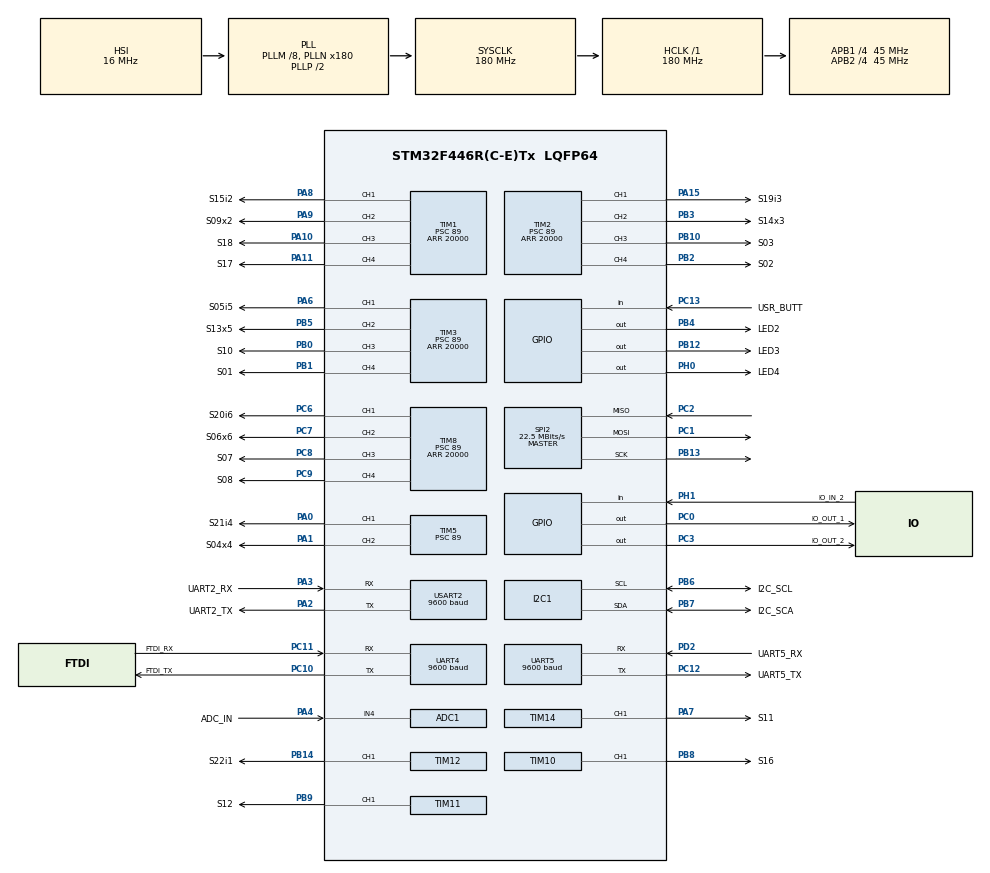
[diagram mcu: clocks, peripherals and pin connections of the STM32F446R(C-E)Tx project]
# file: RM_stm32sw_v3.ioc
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ADC1.Channel-0\#ChannelRegularConversion=ADC_CHANNEL_4
ADC1.NbrOfConversionFlag=1
ADC1.Rank-0\#ChannelRegularConversion=1
ADC1.SamplingTime-0\#ChannelRegularConversion=ADC_SAMPLETIME_3CYCLES
ADC1.master=1
Dma.Request0=USART2_RX
Dma.Request1=USART2_TX
Dma.Request2=UART4_RX
Dma.Request3=UART4_TX
Dma.Request4=UART5_RX
Dma.Request5=UART5_TX
Dma.Request6=SPI2_RX
Dma.SPI2_RX.6.Direction=DMA_PERIPH_TO_MEMORY
Dma.SPI2_RX.6.FIFOMode=DMA_FIFOMODE_DISABLE
Dma.SPI2_RX.6.Instance=DMA1_Stream3
Dma.SPI2_RX.6.MemDataAlignment=DMA_MDATAALIGN_BYTE
Dma.SPI2_RX.6.MemInc=DMA_MINC_ENABLE
Dma.SPI2_RX.6.Mode=DMA_NORMAL
Dma.SPI2_RX.6.PeriphDataAlignment=DMA_PDATAALIGN_BYTE
Dma.SPI2_RX.6.PeriphInc=DMA_PINC_DISABLE
Dma.SPI2_RX.6.Priority=DMA_PRIORITY_LOW
Dma.UART4_RX.2.Direction=DMA_PERIPH_TO_MEMORY
Dma.UART4_RX.2.FIFOMode=DMA_FIFOMODE_DISABLE
Dma.UART4_RX.2.Instance=DMA1_Stream2
Dma.UART4_RX.2.MemDataAlignment=DMA_MDATAALIGN_BYTE
Dma.UART4_RX.2.MemInc=DMA_MINC_ENABLE
Dma.UART4_RX.2.Mode=DMA_NORMAL
Dma.UART4_RX.2.PeriphDataAlignment=DMA_PDATAALIGN_BYTE
Dma.UART4_RX.2.PeriphInc=DMA_PINC_DISABLE
Dma.UART4_RX.2.Priority=DMA_PRIORITY_LOW
Dma.UART4_TX.3.Direction=DMA_MEMORY_TO_PERIPH
Dma.UART4_TX.3.FIFOMode=DMA_FIFOMODE_DISABLE
Dma.UART4_TX.3.Instance=DMA1_Stream4
Dma.UART4_TX.3.MemDataAlignment=DMA_MDATAALIGN_BYTE
Dma.UART4_TX.3.MemInc=DMA_MINC_ENABLE
Dma.UART4_TX.3.Mode=DMA_NORMAL
Dma.UART4_TX.3.PeriphDataAlignment=DMA_PDATAALIGN_BYTE
Dma.UART4_TX.3.PeriphInc=DMA_PINC_DISABLE
Dma.UART4_TX.3.Priority=DMA_PRIORITY_LOW
Dma.UART5_RX.4.Direction=DMA_PERIPH_TO_MEMORY
Dma.UART5_RX.4.FIFOMode=DMA_FIFOMODE_DISABLE
Dma.UART5_RX.4.Instance=DMA1_Stream0
Dma.UART5_RX.4.MemDataAlignment=DMA_MDATAALIGN_BYTE
Dma.UART5_RX.4.MemInc=DMA_MINC_ENABLE
Dma.UART5_RX.4.Mode=DMA_NORMAL
Dma.UART5_RX.4.PeriphDataAlignment=DMA_PDATAALIGN_BYTE
Dma.UART5_RX.4.PeriphInc=DMA_PINC_DISABLE
Dma.UART5_RX.4.Priority=DMA_PRIORITY_LOW
Dma.UART5_TX.5.Direction=DMA_MEMORY_TO_PERIPH
Dma.UART5_TX.5.FIFOMode=DMA_FIFOMODE_DISABLE
Dma.UART5_TX.5.Instance=DMA1_Stream7
Dma.UART5_TX.5.MemDataAlignment=DMA_MDATAALIGN_BYTE
Dma.UART5_TX.5.MemInc=DMA_MINC_ENABLE
Dma.UART5_TX.5.Mode=DMA_NORMAL
Dma.UART5_TX.5.PeriphDataAlignment=DMA_PDATAALIGN_BYTE
Dma.UART5_TX.5.PeriphInc=DMA_PINC_DISABLE
Dma.UART5_TX.5.Priority=DMA_PRIORITY_LOW
Dma.USART2_RX.0.Direction=DMA_PERIPH_TO_MEMORY
Dma.USART2_RX.0.FIFOMode=DMA_FIFOMODE_DISABLE
Dma.USART2_RX.0.Instance=DMA1_Stream5
Dma.USART2_RX.0.MemDataAlignment=DMA_MDATAALIGN_BYTE
Dma.USART2_RX.0.MemInc=DMA_MINC_ENABLE
Dma.USART2_RX.0.Mode=DMA_NORMAL
Dma.USART2_RX.0.PeriphDataAlignment=DMA_PDATAALIGN_BYTE
Dma.USART2_RX.0.PeriphInc=DMA_PINC_DISABLE
Dma.USART2_RX.0.Priority=DMA_PRIORITY_LOW
Dma.USART2_TX.1.Direction=DMA_MEMORY_TO_PERIPH
Dma.USART2_TX.1.FIFOMode=DMA_FIFOMODE_DISABLE
Dma.USART2_TX.1.Instance=DMA1_Stream6
Dma.USART2_TX.1.MemDataAlignment=DMA_MDATAALIGN_BYTE
Dma.USART2_TX.1.MemInc=DMA_MINC_ENABLE
Dma.USART2_TX.1.Mode=DMA_NORMAL
Dma.USART2_TX.1.PeriphDataAlignment=DMA_PDATAALIGN_BYTE
Dma.USART2_TX.1.PeriphInc=DMA_PINC_DISABLE
Dma.USART2_TX.1.Priority=DMA_PRIORITY_LOW
Mcu.Family=STM32F4
Mcu.Name=STM32F446R(C-E)Tx
Mcu.Package=LQFP64
NVIC.DMA1_Stream0_IRQn=true\:0\:0\:false\:false\:true\:false\:true
NVIC.DMA1_Stream2_IRQn=true\:0\:0\:false\:false\:true\:false\:true
NVIC.DMA1_Stream3_IRQn=true\:0\:0\:false\:false\:true\:false\:true
NVIC.DMA1_Stream4_IRQn=true\:0\:0\:false\:false\:true\:false\:true
NVIC.DMA1_Stream5_IRQn=true\:0\:0\:false\:false\:true\:false\:true
NVIC.DMA1_Stream6_IRQn=true\:0\:0\:false\:false\:true\:false\:true
NVIC.DMA1_Stream7_IRQn=true\:0\:0\:false\:false\:true\:false\:true
NVIC.PriorityGroup=NVIC_PRIORITYGROUP_4
NVIC.TIM8_UP_TIM13_IRQn=true\:0\:0\:false\:false\:true\:true\:true
NVIC.UART4_IRQn=true\:0\:0\:false\:false\:true\:true\:true
PA0-WKUP.GPIO_Label=S21i4
PA0-WKUP.Signal=S_TIM5_CH1
PA1.GPIO_Label=S04x4
PA1.Signal=S_TIM5_CH2
PA10.GPIO_Label=S18
PA10.Signal=S_TIM1_CH3
PA11.GPIO_Label=S17
PA11.Signal=S_TIM1_CH4
PA13.GPIO_Label=SWDIO
PA13.Mode=Serial_Wire
PA13.Signal=SYS_JTMS-SWDIO
PA14.GPIO_Label=SWCLK
PA14.Mode=Serial_Wire
PA14.Signal=SYS_JTCK-SWCLK
PA15.GPIO_Label=S19i3
PA15.Signal=S_TIM2_CH1_ETR
PA2.GPIO_Label=UART2_TX
PA2.Mode=Asynchronous
PA2.Signal=USART2_TX
PA3.GPIO_Label=UART2_RX
PA3.Mode=Asynchronous
PA3.Signal=USART2_RX
PA4.GPIO_Label=ADC_IN
PA4.Signal=SharedAnalog_PA4
PA6.GPIO_Label=S05i5
PA6.Signal=S_TIM3_CH1
PA7.GPIO_Label=S11
PA7.Signal=S_TIM14_CH1
PA8.GPIO_Label=S15i2
PA8.Signal=S_TIM1_CH1
PA9.GPIO_Label=S09x2
PA9.Signal=S_TIM1_CH2
PB0.GPIO_Label=S10
PB0.Signal=S_TIM3_CH3
PB1.GPIO_Label=S01
PB1.Signal=S_TIM3_CH4
PB10.GPIO_Label=S03
PB10.Signal=S_TIM2_CH3
PB12.GPIO_Label=LED3
PB12.Signal=GPIO_Output
PB13.Mode=Full_Duplex_Master
PB13.Signal=SPI2_SCK
PB14.GPIO_Label=S22i1
PB14.Signal=S_TIM12_CH1
PB2.GPIO_Label=S02
PB2.Signal=S_TIM2_CH4
PB3.GPIO_Label=S14x3
PB3.Signal=S_TIM2_CH2
PB4.GPIO_Label=LED2
PB4.Signal=GPIO_Output
PB5.GPIO_Label=S13x5
PB5.Signal=S_TIM3_CH2
PB6.GPIO_Label=I2C_SCL
PB6.Mode=I2C
PB6.Signal=I2C1_SCL
PB7.GPIO_Label=I2C_SCA
PB7.Mode=I2C
PB7.Signal=I2C1_SDA
PB8.GPIO_Label=S16
PB8.Signal=S_TIM10_CH1
PB9.GPIO_Label=S12
PB9.Signal=S_TIM11_CH1
PC0.GPIO_Label=IO_OUT_1
PC0.Signal=GPIO_Output
PC1.Mode=Full_Duplex_Master
PC1.Signal=SPI2_MOSI
PC10.GPIO_Label=FTDI_TX
PC10.Mode=Asynchronous
PC10.Signal=UART4_TX
PC11.GPIO_Label=FTDI_RX
PC11.Mode=Asynchronous
PC11.Signal=UART4_RX
PC12.GPIO_Label=UART5_TX
PC12.Mode=Asynchronous
PC12.Signal=UART5_TX
PC13.GPIO_Label=USR_BUTT
PC13.Signal=GPIO_Input
PC14-OSC32_IN.GPIO_Label=OSC_IN
PC14-OSC32_IN.Signal=RCC_OSC32_IN
PC15-OSC32_OUT.GPIO_Label=OSC_OUT
PC15-OSC32_OUT.Signal=RCC_OSC32_OUT
PC2.Mode=Full_Duplex_Master
PC2.Signal=SPI2_MISO
PC3.GPIO_Label=IO_OUT_2
PC3.Signal=GPIO_Output
PC6.GPIO_Label=S20i6
PC6.Signal=S_TIM8_CH1
PC7.GPIO_Label=S06x6
PC7.Signal=S_TIM8_CH2
PC8.GPIO_Label=S07
PC8.Signal=S_TIM8_CH3
PC9.GPIO_Label=S08
PC9.Signal=S_TIM8_CH4
PD2.GPIO_Label=UART5_RX
PD2.Mode=Asynchronous
PD2.Signal=UART5_RX
PH0-OSC_IN.GPIO_Label=LED4
PH0-OSC_IN.Signal=GPIO_Output
PH1-OSC_OUT.GPIO_Label=IO_IN_2
PH1-OSC_OUT.Signal=GPIO_Input
ProjectManager.HeapSize=0x200
ProjectManager.StackSize=0x400
ProjectManager.TargetToolchain=TrueSTUDIO
RCC.AHBFreq_Value=180000000
RCC.APB1CLKDivider=RCC_HCLK_DIV4
RCC.APB1Freq_Value=45000000
RCC.APB1TimFreq_Value=90000000
RCC.APB2CLKDivider=RCC_HCLK_DIV4
RCC.APB2Freq_Value=45000000
RCC.APB2TimFreq_Value=90000000
RCC.CortexFreq_Value=180000000
RCC.HCLKFreq_Value=180000000
RCC.PLLM=8
RCC.PLLN=180
RCC.SYSCLKFreq_VALUE=180000000
RCC.SYSCLKSource=RCC_SYSCLKSOURCE_PLLCLK
RCC.USBFreq_Value=180000000
RCC.VCOOutputFreq_Value=360000000
SH.S_TIM10_CH1.0=TIM10_CH1,PWM Generation1 CH1
SH.S_TIM11_CH1.0=TIM11_CH1,PWM Generation1 CH1
SH.S_TIM12_CH1.0=TIM12_CH1,PWM Generation1 CH1
SH.S_TIM14_CH1.0=TIM14_CH1,PWM Generation1 CH1
SH.S_TIM1_CH1.0=TIM1_CH1,PWM Generation1 CH1
SH.S_TIM1_CH2.0=TIM1_CH2,PWM Generation2 CH2
SH.S_TIM1_CH3.0=TIM1_CH3,PWM Generation3 CH3
SH.S_TIM1_CH4.0=TIM1_CH4,PWM Generation4 CH4
SH.S_TIM2_CH1_ETR.0=TIM2_CH1,PWM Generation1 CH1
SH.S_TIM2_CH2.0=TIM2_CH2,PWM Generation2 CH2
SH.S_TIM2_CH3.0=TIM2_CH3,PWM Generation3 CH3
SH.S_TIM2_CH4.0=TIM2_CH4,PWM Generation4 CH4
SH.S_TIM3_CH1.0=TIM3_CH1,PWM Generation1 CH1
SH.S_TIM3_CH2.0=TIM3_CH2,PWM Generation2 CH2
SH.S_TIM3_CH3.0=TIM3_CH3,PWM Generation3 CH3
SH.S_TIM3_CH4.0=TIM3_CH4,PWM Generation4 CH4
SH.S_TIM5_CH1.0=TIM5_CH1,PWM Generation1 CH1
SH.S_TIM5_CH2.0=TIM5_CH2,PWM Generation2 CH2
SH.S_TIM8_CH1.0=TIM8_CH1,PWM Generation1 CH1
SH.S_TIM8_CH2.0=TIM8_CH2,PWM Generation2 CH2
SH.S_TIM8_CH3.0=TIM8_CH3,PWM Generation3 CH3
SH.S_TIM8_CH4.0=TIM8_CH4,PWM Generation4 CH4
SH.SharedAnalog_PA4.0=GPIO_Analog
SH.SharedAnalog_PA4.1=ADC1_IN4,IN4
SPI2.CalculateBaudRate=22.5 MBits/s
SPI2.Direction=SPI_DIRECTION_2LINES
SPI2.Mode=SPI_MODE_MASTER
SPI2.VirtualType=VM_MASTER
TIM1.Channel-PWM\ Generation1\ CH1=TIM_CHANNEL_1
TIM1.Channel-PWM\ Generation2\ CH2=TIM_CHANNEL_2
TIM1.Channel-PWM\ Generation3\ CH3=TIM_CHANNEL_3
TIM1.Channel-PWM\ Generation4\ CH4=TIM_CHANNEL_4
TIM1.Period=20000
TIM1.Prescaler=89
TIM1.Pulse-PWM\ Generation1\ CH1=1500
TIM1.Pulse-PWM\ Generation2\ CH2=1500
TIM1.Pulse-PWM\ Generation3\ CH3=1500
TIM1.Pulse-PWM\ Generation4\ CH4=1500
TIM10.Channel=TIM_CHANNEL_1
TIM10.Period=20000
TIM10.Prescaler=89
TIM10.Pulse=1500
TIM11.Channel=TIM_CHANNEL_1
TIM11.Period=20000
TIM11.Prescaler=89
TIM11.Pulse=1500
TIM12.Channel-PWM\ Generation1\ CH1=TIM_CHANNEL_1
TIM13.Period=20000
TIM13.Prescaler=89
TIM14.Channel=TIM_CHANNEL_1
TIM14.Period=20000
TIM14.Prescaler=89
TIM14.Pulse=1500
TIM2.Channel-PWM\ Generation1\ CH1=TIM_CHANNEL_1
TIM2.Channel-PWM\ Generation2\ CH2=TIM_CHANNEL_2
TIM2.Channel-PWM\ Generation3\ CH3=TIM_CHANNEL_3
TIM2.Channel-PWM\ Generation4\ CH4=TIM_CHANNEL_4
TIM2.Period=20000
TIM2.Prescaler=89
TIM2.Pulse-PWM\ Generation1\ CH1=1500
TIM2.Pulse-PWM\ Generation2\ CH2=1500
TIM2.Pulse-PWM\ Generation3\ CH3=1500
TIM2.Pulse-PWM\ Generation4\ CH4=1500
TIM3.Channel-PWM\ Generation1\ CH1=TIM_CHANNEL_1
TIM3.Channel-PWM\ Generation2\ CH2=TIM_CHANNEL_2
TIM3.Channel-PWM\ Generation3\ CH3=TIM_CHANNEL_3
TIM3.Channel-PWM\ Generation4\ CH4=TIM_CHANNEL_4
TIM3.Period=20000
TIM3.Prescaler=89
TIM3.Pulse-PWM\ Generation1\ CH1=1500
TIM3.Pulse-PWM\ Generation2\ CH2=1500
TIM3.Pulse-PWM\ Generation3\ CH3=1500
TIM3.Pulse-PWM\ Generation4\ CH4=1500
TIM5.Channel-PWM\ Generation1\ CH1=TIM_CHANNEL_1
TIM5.Channel-PWM\ Generation2\ CH2=TIM_CHANNEL_2
TIM5.Period=20000
TIM5.Prescaler=89
TIM5.Pulse-PWM\ Generation1\ CH1=1500
TIM5.Pulse-PWM\ Generation2\ CH2=1500
TIM8.Channel-PWM\ Generation1\ CH1=TIM_CHANNEL_1
TIM8.Channel-PWM\ Generation2\ CH2=TIM_CHANNEL_2
TIM8.Channel-PWM\ Generation3\ CH3=TIM_CHANNEL_3
TIM8.Channel-PWM\ Generation4\ CH4=TIM_CHANNEL_4
TIM8.Period=20000
TIM8.Prescaler=89
TIM8.Pulse-PWM\ Generation1\ CH1=1500
TIM8.Pulse-PWM\ Generation2\ CH2=1500
TIM8.Pulse-PWM\ Generation3\ CH3=1500
TIM8.Pulse-PWM\ Generation4\ CH4=1500
UART4.BaudRate=9600
UART4.VirtualMode=Asynchronous
UART5.BaudRate=9600
UART5.VirtualMode=Asynchronous
USART2.BaudRate=9600
USART2.VirtualMode=VM_ASYNC
VP_RTC_VS_RTC_Activate.Mode=RTC_Enabled
VP_TIM10_VS_ClockSourceINT.Mode=Enable_Timer
VP_TIM11_VS_ClockSourceINT.Mode=Enable_Timer
VP_TIM12_VS_ClockSourceINT.Mode=Internal
VP_TIM13_VS_ClockSourceINT.Mode=Enable_Timer
VP_TIM14_VS_ClockSourceINT.Mode=Enable_Timer
VP_TIM1_VS_ClockSourceINT.Mode=Internal
VP_TIM2_VS_ClockSourceINT.Mode=Internal
VP_TIM3_VS_ClockSourceINT.Mode=Internal
VP_TIM8_VS_ClockSourceINT.Mode=Internal
board=custom

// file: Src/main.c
/* USER CODE BEGIN Header */
/**
  ******************************************************************************
  * @file           : main.c
  * @brief          : Main program body
  ******************************************************************************
  * @attention
  *
  * <h2><center>&copy; Copyright (c) 2020 STMicroelectronics.
  * All rights reserved.</center></h2>
  *
  * This software component is licensed by ST under BSD 3-Clause license,
  * the "License"; You may not use this file except in compliance with the
  * License. You may obtain a copy of the License at:
  *                        opensource.org/licenses/BSD-3-Clause
  *
  ******************************************************************************
  */
/* USER CODE END Header */

#include "main.h"

/* USER CODE BEGIN Includes */
#include "stdio.h"
#include "serial.h"
#include "tools.h"
#include "servo.h"
#include "leg.h"
#include "robot.h"
/* USER CODE END Includes */

ADC_HandleTypeDef hadc1;

I2C_HandleTypeDef hi2c1;

RTC_HandleTypeDef hrtc;

SPI_HandleTypeDef hspi2;
DMA_HandleTypeDef hdma_spi2_rx;

TIM_HandleTypeDef htim1;
TIM_HandleTypeDef htim2;
TIM_HandleTypeDef htim3;
TIM_HandleTypeDef htim5;
TIM_HandleTypeDef htim8;
TIM_HandleTypeDef htim10;
TIM_HandleTypeDef htim11;
TIM_HandleTypeDef htim12;
TIM_HandleTypeDef htim13;
TIM_HandleTypeDef htim14;

UART_HandleTypeDef huart4;
UART_HandleTypeDef huart5;
UART_HandleTypeDef huart2;
DMA_HandleTypeDef hdma_uart4_rx;
DMA_HandleTypeDef hdma_uart4_tx;
DMA_HandleTypeDef hdma_uart5_rx;
DMA_HandleTypeDef hdma_uart5_tx;
DMA_HandleTypeDef hdma_usart2_rx;
DMA_HandleTypeDef hdma_usart2_tx;

void SystemClock_Config(void);
static void MX_GPIO_Init(void);
static void MX_DMA_Init(void);
static void MX_ADC1_Init(void);
static void MX_I2C1_Init(void);
static void MX_RTC_Init(void);
static void MX_SPI2_Init(void);
static void MX_TIM1_Init(void);
static void MX_TIM2_Init(void);
static void MX_TIM3_Init(void);
static void MX_TIM5_Init(void);
static void MX_TIM8_Init(void);
static void MX_TIM10_Init(void);
static void MX_TIM11_Init(void);
static void MX_TIM12_Init(void);
static void MX_TIM14_Init(void);
static void MX_UART4_Init(void);
static void MX_UART5_Init(void);
static void MX_USART2_UART_Init(void);
static void MX_TIM13_Init(void);

int main(void)
{
  /* USER CODE BEGIN 1 */
  int len;
  char cmd_line[64];
  char outbuf[64];
  HAL_Serial_Handler FTDI_hserial;
  HAL_Serial_Handler BT_hserial;
  HAL_LineBuffer_Handler FTDI_hlinebuffer;

  /* USER CODE END 1 */

  /* MCU Configuration--------------------------------------------------------*/

  /* Reset of all peripherals, Initializes the Flash interface and the Systick. */
  HAL_Init();

  /* Configure the system clock */
  SystemClock_Config();

  /* Initialize all configured peripherals */
  MX_GPIO_Init();
  MX_DMA_Init();
  MX_ADC1_Init();
  MX_I2C1_Init();
  MX_RTC_Init();
  MX_SPI2_Init();
  MX_TIM1_Init();
  MX_TIM2_Init();
  MX_TIM3_Init();
  MX_TIM5_Init();
  MX_TIM8_Init();
  MX_TIM10_Init();
  MX_TIM11_Init();
  MX_TIM12_Init();
  MX_TIM14_Init();
  MX_UART4_Init();
  MX_UART5_Init();
  MX_USART2_UART_Init();
  MX_TIM13_Init();
  /* USER CODE BEGIN 2 */

  // Initialise TIM13 for 50Hz IT
  HAL_TIM_Base_Start_IT(&htim13);
  // Initialise servo timers
  HAL_TIM_Base_Start_IT(&htim1);
  HAL_TIM_Base_Start_IT(&htim2);
  HAL_TIM_Base_Start_IT(&htim3);
  HAL_TIM_Base_Start_IT(&htim5);
  HAL_TIM_Base_Start_IT(&htim8);
  HAL_TIM_Base_Start_IT(&htim10);
  HAL_TIM_Base_Start_IT(&htim11);
  HAL_TIM_Base_Start_IT(&htim14);

  // Serial initialisation
  HAL_Serial_Init(&huart4, &FTDI_hserial);
  HAL_Serial_Init(&huart2, &BT_hserial);
  HAL_LineBuffer_Init(&FTDI_hlinebuffer, &FTDI_hserial);

  LedSwitch(2,GPIO_PIN_SET);
  LedSwitch(3,GPIO_PIN_SET);
  LedSwitch(4,GPIO_PIN_SET);

  HAL_Serial_Print(&FTDI_hserial, "******************************\n");
  Robot_Init();
  HAL_Serial_Print(&FTDI_hserial, "Robot init done\n");
  Robot_Unfold();
  HAL_Serial_Print(&FTDI_hserial, "Robot unfold done\n");
#ifdef TOTO
  Servo_Autotest(robot.hservos[0]);
  Servo_Autotest(robot.hlegs[0]->hservoH);
  Servo_Autotest(robot.hlegs[0]->hservoM);
  Servo_Autotest(robot.hlegs[0]->hservoL);
  HAL_Serial_Print(&FTDI_hserial, "Servos autotest done\n");
  Leg_Autotest(robot.hlegs[0]);
  HAL_Serial_Print(&FTDI_hserial, "Leg autotest done\n");
#endif
  HAL_Delay(10000);
  Robot_Autotest();
  HAL_Serial_Print(&FTDI_hserial, "Robot autotest done\n");

  /* USER CODE END 2 */

  /* Infinite loop */
  while (1)
  {

    /* USER CODE BEGIN 3 */

    //* Check USR button ************************
    if(HAL_GPIO_ReadPin(USR_BUTT_GPIO_Port,USR_BUTT_Pin)==GPIO_PIN_RESET)
    {
      while(HAL_GPIO_ReadPin(USR_BUTT_GPIO_Port,USR_BUTT_Pin)==GPIO_PIN_RESET)
      {
        // wait until button release
      }
      Robot_ButtonPushed();
      HAL_Serial_Print(&FTDI_hserial, "%s\n", Robot_GetState());
    }

    //* Read commands from FTDI *****************
    if((len=HAL_LineBuffer_Read(&FTDI_hlinebuffer, cmd_line, sizeof(cmd_line))) > 0)
    {
      HAL_Serial_Write(FTDI_hlinebuffer.hserial, (uint8_t*)outbuf, sprintf(outbuf, "<%s>\n", cmd_line));
      // interpret command
      Robot_ReadCommand(FTDI_hlinebuffer.hserial, cmd_line);
      HAL_Serial_Print(&FTDI_hserial, "%s\n", Robot_GetState());
    }

    //HAL_Serial_Print(&FTDI_hserial, "%s \n", Robot_GetState(), );
    HAL_Delay(100);
    //HAL_Serial_Print(&FTDI_hserial, "Tim13=%d\n", __HAL_TIM_GetCounter(&htim13));
    HAL_GPIO_TogglePin(LED4_GPIO_Port, LED4_Pin);
    HAL_Delay(100);
  }
  /* USER CODE END 3 */
}

void SystemClock_Config(void)
{
  RCC_OscInitTypeDef RCC_OscInitStruct = {0};
  RCC_ClkInitTypeDef RCC_ClkInitStruct = {0};
  RCC_PeriphCLKInitTypeDef PeriphClkInitStruct = {0};

  /** Configure the main internal regulator output voltage
  */
  __HAL_RCC_PWR_CLK_ENABLE();
  __HAL_PWR_VOLTAGESCALING_CONFIG(PWR_REGULATOR_VOLTAGE_SCALE1);
  /** Initializes the CPU, AHB and APB busses clocks
  */
  RCC_OscInitStruct.OscillatorType = RCC_OSCILLATORTYPE_HSI|RCC_OSCILLATORTYPE_LSI;
  RCC_OscInitStruct.LSEState = RCC_LSE_OFF;
  RCC_OscInitStruct.HSIState = RCC_HSI_ON;
  RCC_OscInitStruct.HSICalibrationValue = RCC_HSICALIBRATION_DEFAULT;
  RCC_OscInitStruct.LSIState = RCC_LSI_ON;
  RCC_OscInitStruct.PLL.PLLState = RCC_PLL_ON;
  RCC_OscInitStruct.PLL.PLLSource = RCC_PLLSOURCE_HSI;
  RCC_OscInitStruct.PLL.PLLM = 8;
  RCC_OscInitStruct.PLL.PLLN = 180;
  RCC_OscInitStruct.PLL.PLLP = RCC_PLLP_DIV2;
  RCC_OscInitStruct.PLL.PLLQ = 2;
  RCC_OscInitStruct.PLL.PLLR = 2;
  if (HAL_RCC_OscConfig(&RCC_OscInitStruct) != HAL_OK)
  {
    Error_Handler();
  }
  /** Activate the Over-Drive mode
  */
  if (HAL_PWREx_EnableOverDrive() != HAL_OK)
  {
    Error_Handler();
  }
  /** Initializes the CPU, AHB and APB busses clocks
  */
  RCC_ClkInitStruct.ClockType = RCC_CLOCKTYPE_HCLK|RCC_CLOCKTYPE_SYSCLK
                              |RCC_CLOCKTYPE_PCLK1|RCC_CLOCKTYPE_PCLK2;
  RCC_ClkInitStruct.SYSCLKSource = RCC_SYSCLKSOURCE_PLLCLK;
  RCC_ClkInitStruct.AHBCLKDivider = RCC_SYSCLK_DIV1;
  RCC_ClkInitStruct.APB1CLKDivider = RCC_HCLK_DIV4;
  RCC_ClkInitStruct.APB2CLKDivider = RCC_HCLK_DIV4;

  if (HAL_RCC_ClockConfig(&RCC_ClkInitStruct, FLASH_LATENCY_5) != HAL_OK)
  {
    Error_Handler();
  }
  PeriphClkInitStruct.PeriphClockSelection = RCC_PERIPHCLK_RTC;
  PeriphClkInitStruct.RTCClockSelection = RCC_RTCCLKSOURCE_LSI;
  if (HAL_RCCEx_PeriphCLKConfig(&PeriphClkInitStruct) != HAL_OK)
  {
    Error_Handler();
  }
}

static void MX_ADC1_Init(void)
{

  ADC_ChannelConfTypeDef sConfig = {0};

  /** Configure the global features of the ADC (Clock, Resolution, Data Alignment and number of conversion)
  */
  hadc1.Instance = ADC1;
  hadc1.Init.ClockPrescaler = ADC_CLOCK_SYNC_PCLK_DIV2;
  hadc1.Init.Resolution = ADC_RESOLUTION_12B;
  hadc1.Init.ScanConvMode = DISABLE;
  hadc1.Init.ContinuousConvMode = DISABLE;
  hadc1.Init.DiscontinuousConvMode = DISABLE;
  hadc1.Init.ExternalTrigConvEdge = ADC_EXTERNALTRIGCONVEDGE_NONE;
  hadc1.Init.ExternalTrigConv = ADC_SOFTWARE_START;
  hadc1.Init.DataAlign = ADC_DATAALIGN_RIGHT;
  hadc1.Init.NbrOfConversion = 1;
  hadc1.Init.DMAContinuousRequests = DISABLE;
  hadc1.Init.EOCSelection = ADC_EOC_SINGLE_CONV;
  if (HAL_ADC_Init(&hadc1) != HAL_OK)
  {
    Error_Handler();
  }
  /** Configure for the selected ADC regular channel its corresponding rank in the sequencer and its sample time.
  */
  sConfig.Channel = ADC_CHANNEL_4;
  sConfig.Rank = 1;
  sConfig.SamplingTime = ADC_SAMPLETIME_3CYCLES;
  if (HAL_ADC_ConfigChannel(&hadc1, &sConfig) != HAL_OK)
  {
    Error_Handler();
  }

}

static void MX_I2C1_Init(void)
{

  hi2c1.Instance = I2C1;
  hi2c1.Init.ClockSpeed = 100000;
  hi2c1.Init.DutyCycle = I2C_DUTYCYCLE_2;
  hi2c1.Init.OwnAddress1 = 0;
  hi2c1.Init.AddressingMode = I2C_ADDRESSINGMODE_7BIT;
  hi2c1.Init.DualAddressMode = I2C_DUALADDRESS_DISABLE;
  hi2c1.Init.OwnAddress2 = 0;
  hi2c1.Init.GeneralCallMode = I2C_GENERALCALL_DISABLE;
  hi2c1.Init.NoStretchMode = I2C_NOSTRETCH_DISABLE;
  if (HAL_I2C_Init(&hi2c1) != HAL_OK)
  {
    Error_Handler();
  }

}

static void MX_RTC_Init(void)
{

  /** Initialize RTC Only
  */
  hrtc.Instance = RTC;
  hrtc.Init.HourFormat = RTC_HOURFORMAT_24;
  hrtc.Init.AsynchPrediv = 127;
  hrtc.Init.SynchPrediv = 255;
  hrtc.Init.OutPut = RTC_OUTPUT_DISABLE;
  hrtc.Init.OutPutPolarity = RTC_OUTPUT_POLARITY_HIGH;
  hrtc.Init.OutPutType = RTC_OUTPUT_TYPE_OPENDRAIN;
  if (HAL_RTC_Init(&hrtc) != HAL_OK)
  {
    Error_Handler();
  }

}

static void MX_SPI2_Init(void)
{

  /* SPI2 parameter configuration*/
  hspi2.Instance = SPI2;
  hspi2.Init.Mode = SPI_MODE_MASTER;
  hspi2.Init.Direction = SPI_DIRECTION_2LINES;
  hspi2.Init.DataSize = SPI_DATASIZE_8BIT;
  hspi2.Init.CLKPolarity = SPI_POLARITY_LOW;
  hspi2.Init.CLKPhase = SPI_PHASE_1EDGE;
  hspi2.Init.NSS = SPI_NSS_SOFT;
  hspi2.Init.BaudRatePrescaler = SPI_BAUDRATEPRESCALER_2;
  hspi2.Init.FirstBit = SPI_FIRSTBIT_MSB;
  hspi2.Init.TIMode = SPI_TIMODE_DISABLE;
  hspi2.Init.CRCCalculation = SPI_CRCCALCULATION_DISABLE;
  hspi2.Init.CRCPolynomial = 10;
  if (HAL_SPI_Init(&hspi2) != HAL_OK)
  {
    Error_Handler();
  }

}

static void MX_TIM1_Init(void)
{

  TIM_ClockConfigTypeDef sClockSourceConfig = {0};
  TIM_MasterConfigTypeDef sMasterConfig = {0};
  TIM_OC_InitTypeDef sConfigOC = {0};
  TIM_BreakDeadTimeConfigTypeDef sBreakDeadTimeConfig = {0};

  htim1.Instance = TIM1;
  htim1.Init.Prescaler = 89;
  htim1.Init.CounterMode = TIM_COUNTERMODE_UP;
  htim1.Init.Period = 20000;
  htim1.Init.ClockDivision = TIM_CLOCKDIVISION_DIV1;
  htim1.Init.RepetitionCounter = 0;
  htim1.Init.AutoReloadPreload = TIM_AUTORELOAD_PRELOAD_DISABLE;
  if (HAL_TIM_Base_Init(&htim1) != HAL_OK)
  {
    Error_Handler();
  }
  sClockSourceConfig.ClockSource = TIM_CLOCKSOURCE_INTERNAL;
  if (HAL_TIM_ConfigClockSource(&htim1, &sClockSourceConfig) != HAL_OK)
  {
    Error_Handler();
  }
  if (HAL_TIM_PWM_Init(&htim1) != HAL_OK)
  {
    Error_Handler();
  }
  sMasterConfig.MasterOutputTrigger = TIM_TRGO_RESET;
  sMasterConfig.MasterSlaveMode = TIM_MASTERSLAVEMODE_DISABLE;
  if (HAL_TIMEx_MasterConfigSynchronization(&htim1, &sMasterConfig) != HAL_OK)
  {
    Error_Handler();
  }
  sConfigOC.OCMode = TIM_OCMODE_PWM1;
  sConfigOC.Pulse = 1500;
  sConfigOC.OCPolarity = TIM_OCPOLARITY_HIGH;
  sConfigOC.OCNPolarity = TIM_OCNPOLARITY_HIGH;
  sConfigOC.OCFastMode = TIM_OCFAST_DISABLE;
  sConfigOC.OCIdleState = TIM_OCIDLESTATE_RESET;
  sConfigOC.OCNIdleState = TIM_OCNIDLESTATE_RESET;
  if (HAL_TIM_PWM_ConfigChannel(&htim1, &sConfigOC, TIM_CHANNEL_1) != HAL_OK)
  {
    Error_Handler();
  }
  if (HAL_TIM_PWM_ConfigChannel(&htim1, &sConfigOC, TIM_CHANNEL_2) != HAL_OK)
  {
    Error_Handler();
  }
  if (HAL_TIM_PWM_ConfigChannel(&htim1, &sConfigOC, TIM_CHANNEL_3) != HAL_OK)
  {
    Error_Handler();
  }
  if (HAL_TIM_PWM_ConfigChannel(&htim1, &sConfigOC, TIM_CHANNEL_4) != HAL_OK)
  {
    Error_Handler();
  }
  sBreakDeadTimeConfig.OffStateRunMode = TIM_OSSR_DISABLE;
  sBreakDeadTimeConfig.OffStateIDLEMode = TIM_OSSI_DISABLE;
  sBreakDeadTimeConfig.LockLevel = TIM_LOCKLEVEL_OFF;
  sBreakDeadTimeConfig.DeadTime = 0;
  sBreakDeadTimeConfig.BreakState = TIM_BREAK_DISABLE;
  sBreakDeadTimeConfig.BreakPolarity = TIM_BREAKPOLARITY_HIGH;
  sBreakDeadTimeConfig.AutomaticOutput = TIM_AUTOMATICOUTPUT_DISABLE;
  if (HAL_TIMEx_ConfigBreakDeadTime(&htim1, &sBreakDeadTimeConfig) != HAL_OK)
  {
    Error_Handler();
  }
  HAL_TIM_MspPostInit(&htim1);

}

static void MX_TIM2_Init(void)
{

  TIM_ClockConfigTypeDef sClockSourceConfig = {0};
  TIM_MasterConfigTypeDef sMasterConfig = {0};
  TIM_OC_InitTypeDef sConfigOC = {0};

  htim2.Instance = TIM2;
  htim2.Init.Prescaler = 89;
  htim2.Init.CounterMode = TIM_COUNTERMODE_UP;
  htim2.Init.Period = 20000;
  htim2.Init.ClockDivision = TIM_CLOCKDIVISION_DIV1;
  htim2.Init.AutoReloadPreload = TIM_AUTORELOAD_PRELOAD_DISABLE;
  if (HAL_TIM_Base_Init(&htim2) != HAL_OK)
  {
    Error_Handler();
  }
  sClockSourceConfig.ClockSource = TIM_CLOCKSOURCE_INTERNAL;
  if (HAL_TIM_ConfigClockSource(&htim2, &sClockSourceConfig) != HAL_OK)
  {
    Error_Handler();
  }
  if (HAL_TIM_PWM_Init(&htim2) != HAL_OK)
  {
    Error_Handler();
  }
  sMasterConfig.MasterOutputTrigger = TIM_TRGO_RESET;
  sMasterConfig.MasterSlaveMode = TIM_MASTERSLAVEMODE_DISABLE;
  if (HAL_TIMEx_MasterConfigSynchronization(&htim2, &sMasterConfig) != HAL_OK)
  {
    Error_Handler();
  }
  sConfigOC.OCMode = TIM_OCMODE_PWM1;
  sConfigOC.Pulse = 1500;
  sConfigOC.OCPolarity = TIM_OCPOLARITY_HIGH;
  sConfigOC.OCFastMode = TIM_OCFAST_DISABLE;
  if (HAL_TIM_PWM_ConfigChannel(&htim2, &sConfigOC, TIM_CHANNEL_1) != HAL_OK)
  {
    Error_Handler();
  }
  if (HAL_TIM_PWM_ConfigChannel(&htim2, &sConfigOC, TIM_CHANNEL_2) != HAL_OK)
  {
    Error_Handler();
  }
  if (HAL_TIM_PWM_ConfigChannel(&htim2, &sConfigOC, TIM_CHANNEL_3) != HAL_OK)
  {
    Error_Handler();
  }
  if (HAL_TIM_PWM_ConfigChannel(&htim2, &sConfigOC, TIM_CHANNEL_4) != HAL_OK)
  {
    Error_Handler();
  }
  HAL_TIM_MspPostInit(&htim2);

}

static void MX_TIM3_Init(void)
{

  TIM_ClockConfigTypeDef sClockSourceConfig = {0};
  TIM_MasterConfigTypeDef sMasterConfig = {0};
  TIM_OC_InitTypeDef sConfigOC = {0};

  htim3.Instance = TIM3;
  htim3.Init.Prescaler = 89;
  htim3.Init.CounterMode = TIM_COUNTERMODE_UP;
  htim3.Init.Period = 20000;
  htim3.Init.ClockDivision = TIM_CLOCKDIVISION_DIV1;
  htim3.Init.AutoReloadPreload = TIM_AUTORELOAD_PRELOAD_DISABLE;
  if (HAL_TIM_Base_Init(&htim3) != HAL_OK)
  {
    Error_Handler();
  }
  sClockSourceConfig.ClockSource = TIM_CLOCKSOURCE_INTERNAL;
  if (HAL_TIM_ConfigClockSource(&htim3, &sClockSourceConfig) != HAL_OK)
  {
    Error_Handler();
  }
  if (HAL_TIM_PWM_Init(&htim3) != HAL_OK)
  {
    Error_Handler();
  }
  sMasterConfig.MasterOutputTrigger = TIM_TRGO_RESET;
  sMasterConfig.MasterSlaveMode = TIM_MASTERSLAVEMODE_DISABLE;
  if (HAL_TIMEx_MasterConfigSynchronization(&htim3, &sMasterConfig) != HAL_OK)
  {
    Error_Handler();
  }
  sConfigOC.OCMode = TIM_OCMODE_PWM1;
  sConfigOC.Pulse = 1500;
  sConfigOC.OCPolarity = TIM_OCPOLARITY_HIGH;
  sConfigOC.OCFastMode = TIM_OCFAST_DISABLE;
  if (HAL_TIM_PWM_ConfigChannel(&htim3, &sConfigOC, TIM_CHANNEL_1) != HAL_OK)
  {
    Error_Handler();
  }
  if (HAL_TIM_PWM_ConfigChannel(&htim3, &sConfigOC, TIM_CHANNEL_2) != HAL_OK)
  {
    Error_Handler();
  }
  if (HAL_TIM_PWM_ConfigChannel(&htim3, &sConfigOC, TIM_CHANNEL_3) != HAL_OK)
  {
    Error_Handler();
  }
  if (HAL_TIM_PWM_ConfigChannel(&htim3, &sConfigOC, TIM_CHANNEL_4) != HAL_OK)
  {
    Error_Handler();
  }
  HAL_TIM_MspPostInit(&htim3);

}

static void MX_TIM5_Init(void)
{

  TIM_MasterConfigTypeDef sMasterConfig = {0};
  TIM_OC_InitTypeDef sConfigOC = {0};

  htim5.Instance = TIM5;
  htim5.Init.Prescaler = 89;
  htim5.Init.CounterMode = TIM_COUNTERMODE_UP;
  htim5.Init.Period = 20000;
  htim5.Init.ClockDivision = TIM_CLOCKDIVISION_DIV1;
  htim5.Init.AutoReloadPreload = TIM_AUTORELOAD_PRELOAD_DISABLE;
  if (HAL_TIM_PWM_Init(&htim5) != HAL_OK)
  {
    Error_Handler();
  }
  sMasterConfig.MasterOutputTrigger = TIM_TRGO_RESET;
  sMasterConfig.MasterSlaveMode = TIM_MASTERSLAVEMODE_DISABLE;
  if (HAL_TIMEx_MasterConfigSynchronization(&htim5, &sMasterConfig) != HAL_OK)
  {
    Error_Handler();
  }
  sConfigOC.OCMode = TIM_OCMODE_PWM1;
  sConfigOC.Pulse = 1500;
  sConfigOC.OCPolarity = TIM_OCPOLARITY_HIGH;
  sConfigOC.OCFastMode = TIM_OCFAST_DISABLE;
  if (HAL_TIM_PWM_ConfigChannel(&htim5, &sConfigOC, TIM_CHANNEL_1) != HAL_OK)
  {
    Error_Handler();
  }
  if (HAL_TIM_PWM_ConfigChannel(&htim5, &sConfigOC, TIM_CHANNEL_2) != HAL_OK)
  {
    Error_Handler();
  }
  HAL_TIM_MspPostInit(&htim5);

}

static void MX_TIM8_Init(void)
{

  TIM_ClockConfigTypeDef sClockSourceConfig = {0};
  TIM_MasterConfigTypeDef sMasterConfig = {0};
  TIM_OC_InitTypeDef sConfigOC = {0};
  TIM_BreakDeadTimeConfigTypeDef sBreakDeadTimeConfig = {0};

  htim8.Instance = TIM8;
  htim8.Init.Prescaler = 89;
  htim8.Init.CounterMode = TIM_COUNTERMODE_UP;
  htim8.Init.Period = 20000;
  htim8.Init.ClockDivision = TIM_CLOCKDIVISION_DIV1;
  htim8.Init.RepetitionCounter = 0;
  htim8.Init.AutoReloadPreload = TIM_AUTORELOAD_PRELOAD_DISABLE;
  if (HAL_TIM_Base_Init(&htim8) != HAL_OK)
  {
    Error_Handler();
  }
  sClockSourceConfig.ClockSource = TIM_CLOCKSOURCE_INTERNAL;
  if (HAL_TIM_ConfigClockSource(&htim8, &sClockSourceConfig) != HAL_OK)
  {
    Error_Handler();
  }
  if (HAL_TIM_PWM_Init(&htim8) != HAL_OK)
  {
    Error_Handler();
  }
  sMasterConfig.MasterOutputTrigger = TIM_TRGO_RESET;
  sMasterConfig.MasterSlaveMode = TIM_MASTERSLAVEMODE_DISABLE;
  if (HAL_TIMEx_MasterConfigSynchronization(&htim8, &sMasterConfig) != HAL_OK)
  {
    Error_Handler();
  }
  sConfigOC.OCMode = TIM_OCMODE_PWM1;
  sConfigOC.Pulse = 1500;
  sConfigOC.OCPolarity = TIM_OCPOLARITY_HIGH;
  sConfigOC.OCNPolarity = TIM_OCNPOLARITY_HIGH;
  sConfigOC.OCFastMode = TIM_OCFAST_DISABLE;
  sConfigOC.OCIdleState = TIM_OCIDLESTATE_RESET;
  sConfigOC.OCNIdleState = TIM_OCNIDLESTATE_RESET;
  if (HAL_TIM_PWM_ConfigChannel(&htim8, &sConfigOC, TIM_CHANNEL_1) != HAL_OK)
  {
    Error_Handler();
  }
  if (HAL_TIM_PWM_ConfigChannel(&htim8, &sConfigOC, TIM_CHANNEL_2) != HAL_OK)
  {
    Error_Handler();
  }
  if (HAL_TIM_PWM_ConfigChannel(&htim8, &sConfigOC, TIM_CHANNEL_3) != HAL_OK)
  {
    Error_Handler();
  }
  if (HAL_TIM_PWM_ConfigChannel(&htim8, &sConfigOC, TIM_CHANNEL_4) != HAL_OK)
  {
    Error_Handler();
  }
  sBreakDeadTimeConfig.OffStateRunMode = TIM_OSSR_DISABLE;
  sBreakDeadTimeConfig.OffStateIDLEMode = TIM_OSSI_DISABLE;
  sBreakDeadTimeConfig.LockLevel = TIM_LOCKLEVEL_OFF;
  sBreakDeadTimeConfig.DeadTime = 0;
  sBreakDeadTimeConfig.BreakState = TIM_BREAK_DISABLE;
  sBreakDeadTimeConfig.BreakPolarity = TIM_BREAKPOLARITY_HIGH;
  sBreakDeadTimeConfig.AutomaticOutput = TIM_AUTOMATICOUTPUT_DISABLE;
  if (HAL_TIMEx_ConfigBreakDeadTime(&htim8, &sBreakDeadTimeConfig) != HAL_OK)
  {
    Error_Handler();
  }
  HAL_TIM_MspPostInit(&htim8);

}

static void MX_TIM10_Init(void)
{

  TIM_OC_InitTypeDef sConfigOC = {0};

  htim10.Instance = TIM10;
  htim10.Init.Prescaler = 89;
  htim10.Init.CounterMode = TIM_COUNTERMODE_UP;
  htim10.Init.Period = 20000;
  htim10.Init.ClockDivision = TIM_CLOCKDIVISION_DIV1;
  htim10.Init.AutoReloadPreload = TIM_AUTORELOAD_PRELOAD_DISABLE;
  if (HAL_TIM_Base_Init(&htim10) != HAL_OK)
  {
    Error_Handler();
  }
  if (HAL_TIM_PWM_Init(&htim10) != HAL_OK)
  {
    Error_Handler();
  }
  sConfigOC.OCMode = TIM_OCMODE_PWM1;
  sConfigOC.Pulse = 1500;
  sConfigOC.OCPolarity = TIM_OCPOLARITY_HIGH;
  sConfigOC.OCFastMode = TIM_OCFAST_DISABLE;
  if (HAL_TIM_PWM_ConfigChannel(&htim10, &sConfigOC, TIM_CHANNEL_1) != HAL_OK)
  {
    Error_Handler();
  }
  HAL_TIM_MspPostInit(&htim10);

}

static void MX_TIM11_Init(void)
{

  TIM_OC_InitTypeDef sConfigOC = {0};

  htim11.Instance = TIM11;
  htim11.Init.Prescaler = 89;
  htim11.Init.CounterMode = TIM_COUNTERMODE_UP;
  htim11.Init.Period = 20000;
  htim11.Init.ClockDivision = TIM_CLOCKDIVISION_DIV1;
  htim11.Init.AutoReloadPreload = TIM_AUTORELOAD_PRELOAD_DISABLE;
  if (HAL_TIM_Base_Init(&htim11) != HAL_OK)
  {
    Error_Handler();
  }
  if (HAL_TIM_PWM_Init(&htim11) != HAL_OK)
  {
    Error_Handler();
  }
  sConfigOC.OCMode = TIM_OCMODE_PWM1;
  sConfigOC.Pulse = 1500;
  sConfigOC.OCPolarity = TIM_OCPOLARITY_HIGH;
  sConfigOC.OCFastMode = TIM_OCFAST_DISABLE;
  if (HAL_TIM_PWM_ConfigChannel(&htim11, &sConfigOC, TIM_CHANNEL_1) != HAL_OK)
  {
    Error_Handler();
  }
  HAL_TIM_MspPostInit(&htim11);

}

static void MX_TIM12_Init(void)
{

  TIM_ClockConfigTypeDef sClockSourceConfig = {0};
  TIM_OC_InitTypeDef sConfigOC = {0};

  htim12.Instance = TIM12;
  htim12.Init.Prescaler = 0;
  htim12.Init.CounterMode = TIM_COUNTERMODE_UP;
  htim12.Init.Period = 0;
  htim12.Init.ClockDivision = TIM_CLOCKDIVISION_DIV1;
  htim12.Init.AutoReloadPreload = TIM_AUTORELOAD_PRELOAD_DISABLE;
  if (HAL_TIM_Base_Init(&htim12) != HAL_OK)
  {
    Error_Handler();
  }
  sClockSourceConfig.ClockSource = TIM_CLOCKSOURCE_INTERNAL;
  if (HAL_TIM_ConfigClockSource(&htim12, &sClockSourceConfig) != HAL_OK)
  {
    Error_Handler();
  }
  if (HAL_TIM_PWM_Init(&htim12) != HAL_OK)
  {
    Error_Handler();
  }
  sConfigOC.OCMode = TIM_OCMODE_PWM1;
  sConfigOC.Pulse = 0;
  sConfigOC.OCPolarity = TIM_OCPOLARITY_HIGH;
  sConfigOC.OCFastMode = TIM_OCFAST_DISABLE;
  if (HAL_TIM_PWM_ConfigChannel(&htim12, &sConfigOC, TIM_CHANNEL_1) != HAL_OK)
  {
    Error_Handler();
  }
  HAL_TIM_MspPostInit(&htim12);

}

static void MX_TIM13_Init(void)
{

  htim13.Instance = TIM13;
  htim13.Init.Prescaler = 89;
  htim13.Init.CounterMode = TIM_COUNTERMODE_UP;
  htim13.Init.Period = 20000;
  htim13.Init.ClockDivision = TIM_CLOCKDIVISION_DIV1;
  htim13.Init.AutoReloadPreload = TIM_AUTORELOAD_PRELOAD_DISABLE;
  if (HAL_TIM_Base_Init(&htim13) != HAL_OK)
  {
    Error_Handler();
  }

}

static void MX_TIM14_Init(void)
{

  TIM_OC_InitTypeDef sConfigOC = {0};

  htim14.Instance = TIM14;
  htim14.Init.Prescaler = 89;
  htim14.Init.CounterMode = TIM_COUNTERMODE_UP;
  htim14.Init.Period = 20000;
  htim14.Init.ClockDivision = TIM_CLOCKDIVISION_DIV1;
  htim14.Init.AutoReloadPreload = TIM_AUTORELOAD_PRELOAD_DISABLE;
  if (HAL_TIM_Base_Init(&htim14) != HAL_OK)
  {
    Error_Handler();
  }
  if (HAL_TIM_PWM_Init(&htim14) != HAL_OK)
  {
    Error_Handler();
  }
  sConfigOC.OCMode = TIM_OCMODE_PWM1;
  sConfigOC.Pulse = 1500;
  sConfigOC.OCPolarity = TIM_OCPOLARITY_HIGH;
  sConfigOC.OCFastMode = TIM_OCFAST_DISABLE;
  if (HAL_TIM_PWM_ConfigChannel(&htim14, &sConfigOC, TIM_CHANNEL_1) != HAL_OK)
  {
    Error_Handler();
  }
  HAL_TIM_MspPostInit(&htim14);

}

static void MX_UART4_Init(void)
{

  huart4.Instance = UART4;
  huart4.Init.BaudRate = 9600;
  huart4.Init.WordLength = UART_WORDLENGTH_8B;
  huart4.Init.StopBits = UART_STOPBITS_1;
  huart4.Init.Parity = UART_PARITY_NONE;
  huart4.Init.Mode = UART_MODE_TX_RX;
  huart4.Init.HwFlowCtl = UART_HWCONTROL_NONE;
  huart4.Init.OverSampling = UART_OVERSAMPLING_16;
  if (HAL_UART_Init(&huart4) != HAL_OK)
  {
    Error_Handler();
  }

}

static void MX_UART5_Init(void)
{

  huart5.Instance = UART5;
  huart5.Init.BaudRate = 9600;
  huart5.Init.WordLength = UART_WORDLENGTH_8B;
  huart5.Init.StopBits = UART_STOPBITS_1;
  huart5.Init.Parity = UART_PARITY_NONE;
  huart5.Init.Mode = UART_MODE_TX_RX;
  huart5.Init.HwFlowCtl = UART_HWCONTROL_NONE;
  huart5.Init.OverSampling = UART_OVERSAMPLING_16;
  if (HAL_UART_Init(&huart5) != HAL_OK)
  {
    Error_Handler();
  }

}

static void MX_USART2_UART_Init(void)
{

  huart2.Instance = USART2;
  huart2.Init.BaudRate = 9600;
  huart2.Init.WordLength = UART_WORDLENGTH_8B;
  huart2.Init.StopBits = UART_STOPBITS_1;
  huart2.Init.Parity = UART_PARITY_NONE;
  huart2.Init.Mode = UART_MODE_TX_RX;
  huart2.Init.HwFlowCtl = UART_HWCONTROL_NONE;
  huart2.Init.OverSampling = UART_OVERSAMPLING_16;
  if (HAL_UART_Init(&huart2) != HAL_OK)
  {
    Error_Handler();
  }

}

static void MX_DMA_Init(void)
{

  /* DMA controller clock enable */
  __HAL_RCC_DMA1_CLK_ENABLE();

  /* DMA interrupt init */
  /* DMA1_Stream0_IRQn interrupt configuration */
  HAL_NVIC_SetPriority(DMA1_Stream0_IRQn, 0, 0);
  HAL_NVIC_EnableIRQ(DMA1_Stream0_IRQn);
  /* DMA1_Stream2_IRQn interrupt configuration */
  HAL_NVIC_SetPriority(DMA1_Stream2_IRQn, 0, 0);
  HAL_NVIC_EnableIRQ(DMA1_Stream2_IRQn);
  /* DMA1_Stream3_IRQn interrupt configuration */
  HAL_NVIC_SetPriority(DMA1_Stream3_IRQn, 0, 0);
  HAL_NVIC_EnableIRQ(DMA1_Stream3_IRQn);
  /* DMA1_Stream4_IRQn interrupt configuration */
  HAL_NVIC_SetPriority(DMA1_Stream4_IRQn, 0, 0);
  HAL_NVIC_EnableIRQ(DMA1_Stream4_IRQn);
  /* DMA1_Stream5_IRQn interrupt configuration */
  HAL_NVIC_SetPriority(DMA1_Stream5_IRQn, 0, 0);
  HAL_NVIC_EnableIRQ(DMA1_Stream5_IRQn);
  /* DMA1_Stream6_IRQn interrupt configuration */
  HAL_NVIC_SetPriority(DMA1_Stream6_IRQn, 0, 0);
  HAL_NVIC_EnableIRQ(DMA1_Stream6_IRQn);
  /* DMA1_Stream7_IRQn interrupt configuration */
  HAL_NVIC_SetPriority(DMA1_Stream7_IRQn, 0, 0);
  HAL_NVIC_EnableIRQ(DMA1_Stream7_IRQn);

}

static void MX_GPIO_Init(void)
{
  GPIO_InitTypeDef GPIO_InitStruct = {0};

  /* GPIO Ports Clock Enable */
  __HAL_RCC_GPIOC_CLK_ENABLE();
  __HAL_RCC_GPIOH_CLK_ENABLE();
  __HAL_RCC_GPIOA_CLK_ENABLE();
  __HAL_RCC_GPIOB_CLK_ENABLE();
  __HAL_RCC_GPIOD_CLK_ENABLE();

  /*Configure GPIO pin Output Level */
  HAL_GPIO_WritePin(LED4_GPIO_Port, LED4_Pin, GPIO_PIN_RESET);

  /*Configure GPIO pin Output Level */
  HAL_GPIO_WritePin(GPIOC, IO_OUT_1_Pin|IO_OUT_2_Pin, GPIO_PIN_RESET);

  /*Configure GPIO pin Output Level */
  HAL_GPIO_WritePin(GPIOB, LED3_Pin|LED2_Pin, GPIO_PIN_RESET);

  /*Configure GPIO pin : USR_BUTT_Pin */
  GPIO_InitStruct.Pin = USR_BUTT_Pin;
  GPIO_InitStruct.Mode = GPIO_MODE_INPUT;
  GPIO_InitStruct.Pull = GPIO_NOPULL;
  HAL_GPIO_Init(USR_BUTT_GPIO_Port, &GPIO_InitStruct);

  /*Configure GPIO pin : LED4_Pin */
  GPIO_InitStruct.Pin = LED4_Pin;
  GPIO_InitStruct.Mode = GPIO_MODE_OUTPUT_PP;
  GPIO_InitStruct.Pull = GPIO_NOPULL;
  GPIO_InitStruct.Speed = GPIO_SPEED_FREQ_LOW;
  HAL_GPIO_Init(LED4_GPIO_Port, &GPIO_InitStruct);

  /*Configure GPIO pin : IO_IN_2_Pin */
  GPIO_InitStruct.Pin = IO_IN_2_Pin;
  GPIO_InitStruct.Mode = GPIO_MODE_INPUT;
  GPIO_InitStruct.Pull = GPIO_NOPULL;
  HAL_GPIO_Init(IO_IN_2_GPIO_Port, &GPIO_InitStruct);

  /*Configure GPIO pins : IO_OUT_1_Pin IO_OUT_2_Pin */
  GPIO_InitStruct.Pin = IO_OUT_1_Pin|IO_OUT_2_Pin;
  GPIO_InitStruct.Mode = GPIO_MODE_OUTPUT_PP;
  GPIO_InitStruct.Pull = GPIO_NOPULL;
  GPIO_InitStruct.Speed = GPIO_SPEED_FREQ_LOW;
  HAL_GPIO_Init(GPIOC, &GPIO_InitStruct);

  /*Configure GPIO pin : ADC_IN_Pin */
  GPIO_InitStruct.Pin = ADC_IN_Pin;
  GPIO_InitStruct.Mode = GPIO_MODE_ANALOG;
  GPIO_InitStruct.Pull = GPIO_NOPULL;
  HAL_GPIO_Init(ADC_IN_GPIO_Port, &GPIO_InitStruct);

  /*Configure GPIO pins : LED3_Pin LED2_Pin */
  GPIO_InitStruct.Pin = LED3_Pin|LED2_Pin;
  GPIO_InitStruct.Mode = GPIO_MODE_OUTPUT_PP;
  GPIO_InitStruct.Pull = GPIO_NOPULL;
  GPIO_InitStruct.Speed = GPIO_SPEED_FREQ_LOW;
  HAL_GPIO_Init(GPIOB, &GPIO_InitStruct);

}

/* USER CODE BEGIN 4 */
/**
  * @brief  Period elapsed callback in non blocking mode
  * @param  htim: TIM handle
  * @retval None
  */
void HAL_TIM_PeriodElapsedCallback(TIM_HandleTypeDef *htim)
{
    if (htim->Instance == htim13.Instance)
    {
        // Robot update
        Robot_Update();
    }
}
/* USER CODE END 4 */

void Error_Handler(void)
{
}

/************************ (C) COPYRIGHT STMicroelectronics *****END OF FILE****/
